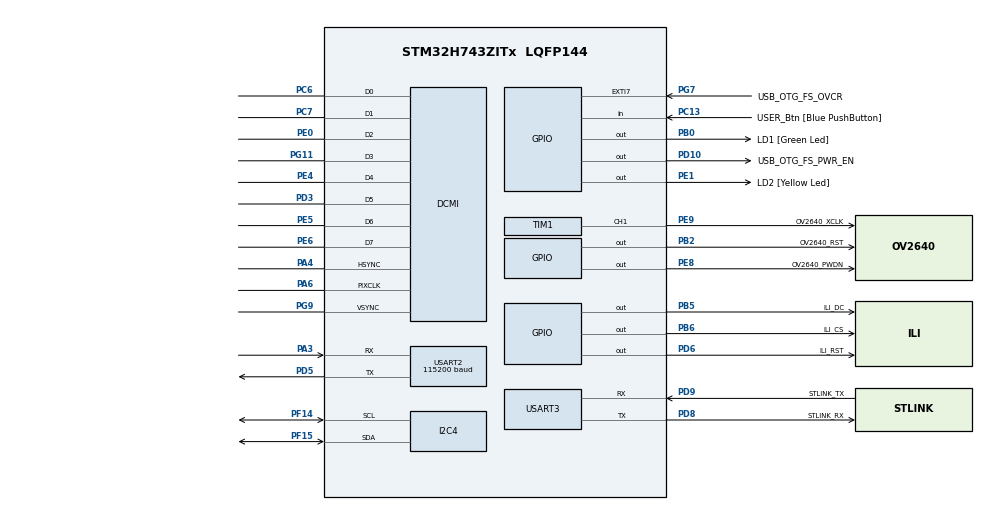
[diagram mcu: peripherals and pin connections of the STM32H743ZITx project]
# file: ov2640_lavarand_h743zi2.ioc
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CRC.DefaultPolynomialUse=DEFAULT_POLYNOMIAL_DISABLE
CRC.GeneratingPolynomial=X31+X23+X15+X7+X0
DCMI.HSPolarity=DCMI_HSPOLARITY_LOW
DCMI.JPEGMode=DCMI_JPEG_ENABLE
DCMI.PCKPolarity=DCMI_PCKPOLARITY_RISING
DCMI.VSPolarity=DCMI_VSPOLARITY_LOW
Dma.DCMI.0.Direction=DMA_PERIPH_TO_MEMORY
Dma.DCMI.0.EventEnable=DISABLE
Dma.DCMI.0.FIFOMode=DMA_FIFOMODE_ENABLE
Dma.DCMI.0.FIFOThreshold=DMA_FIFO_THRESHOLD_FULL
Dma.DCMI.0.Instance=DMA1_Stream0
Dma.DCMI.0.MemBurst=DMA_MBURST_SINGLE
Dma.DCMI.0.MemDataAlignment=DMA_MDATAALIGN_WORD
Dma.DCMI.0.MemInc=DMA_MINC_ENABLE
Dma.DCMI.0.Mode=DMA_CIRCULAR
Dma.DCMI.0.PeriphBurst=DMA_PBURST_SINGLE
Dma.DCMI.0.PeriphDataAlignment=DMA_PDATAALIGN_WORD
Dma.DCMI.0.PeriphInc=DMA_PINC_DISABLE
Dma.DCMI.0.Polarity=HAL_DMAMUX_REQ_GEN_RISING
Dma.DCMI.0.Priority=DMA_PRIORITY_VERY_HIGH
Dma.DCMI.0.RequestNumber=1
Dma.DCMI.0.SignalID=NONE
Dma.DCMI.0.SyncEnable=DISABLE
Dma.DCMI.0.SyncPolarity=HAL_DMAMUX_SYNC_NO_EVENT
Dma.DCMI.0.SyncRequestNumber=1
Dma.DCMI.0.SyncSignalID=NONE
Dma.Request0=DCMI
I2C4.Speed=25
I2C4.Timing=0xC0206FFF
Mcu.Family=STM32H7
Mcu.Name=STM32H743ZITx
Mcu.Package=LQFP144
NVIC.DCMI_IRQn=true\:0\:0\:true\:false\:true\:true\:true\:true
NVIC.DMA1_Stream0_IRQn=true\:0\:0\:true\:false\:true\:false\:true\:true
NVIC.PriorityGroup=NVIC_PRIORITYGROUP_4
NVIC.USART2_IRQn=true\:0\:0\:false\:false\:true\:true\:true\:true
NVIC.USART3_IRQn=true\:0\:0\:false\:false\:true\:true\:true\:true
PA1.Signal=ETH_REF_CLK
PA11.Signal=USB_OTG_FS_DM
PA12.Signal=USB_OTG_FS_DP
PA2.Signal=ETH_MDIO
PA3.Mode=Asynchronous
PA3.Signal=USART2_RX
PA4.GPIO_Speed=GPIO_SPEED_FREQ_HIGH
PA4.Mode=Slave_8_bits_External_Synchro
PA4.Signal=DCMI_HSYNC
PA6.GPIO_Speed=GPIO_SPEED_FREQ_HIGH
PA6.Mode=Slave_8_bits_External_Synchro
PA6.Signal=DCMI_PIXCLK
PA7.Signal=ETH_CRS_DV
PA8.Signal=USB_OTG_FS_SOF
PA9.Signal=USB_OTG_FS_VBUS
PB0.GPIO_Label=LD1 [Green Led]
PB0.Signal=GPIO_Output
PB13.Signal=ETH_TXD1
PB2.GPIO_Label=OV2640_RST
PB2.Signal=GPIO_Output
PB5.GPIO_Label=ILI_DC
PB5.Signal=GPIO_Output
PB6.GPIO_Label=ILI_CS
PB6.Signal=GPIO_Output
PB8.Signal=I2C1_SCL
PC1.Signal=ETH_MDC
PC13.GPIO_Label=USER_Btn [Blue PushButton]
PC13.Signal=GPIO_Input
PC14-OSC32_IN\ (OSC32_IN).Mode=LSE-External-Oscillator
PC14-OSC32_IN\ (OSC32_IN).Signal=RCC_OSC32_IN
PC15-OSC32_OUT\ (OSC32_OUT).Mode=LSE-External-Oscillator
PC15-OSC32_OUT\ (OSC32_OUT).Signal=RCC_OSC32_OUT
PC4.Signal=ETH_RXD0
PC5.Signal=ETH_RXD1
PC6.GPIO_Speed=GPIO_SPEED_FREQ_HIGH
PC6.Mode=Slave_8_bits_External_Synchro
PC6.Signal=DCMI_D0
PC7.GPIO_Speed=GPIO_SPEED_FREQ_HIGH
PC7.Mode=Slave_8_bits_External_Synchro
PC7.Signal=DCMI_D1
PD10.GPIO_Label=USB_OTG_FS_PWR_EN
PD10.Signal=GPIO_Output
PD3.GPIO_Speed=GPIO_SPEED_FREQ_HIGH
PD3.Mode=Slave_8_bits_External_Synchro
PD3.Signal=DCMI_D5
PD5.Mode=Asynchronous
PD5.Signal=USART2_TX
PD6.GPIO_Label=ILI_RST
PD6.Signal=GPIO_Output
PD8.GPIO_Label=STLINK_RX
PD8.Mode=Asynchronous
PD8.Signal=USART3_TX
PD9.GPIO_Label=STLINK_TX
PD9.Mode=Asynchronous
PD9.Signal=USART3_RX
PE0.GPIO_Speed=GPIO_SPEED_FREQ_HIGH
PE0.Mode=Slave_8_bits_External_Synchro
PE0.Signal=DCMI_D2
PE1.GPIO_Label=LD2 [Yellow Led]
PE1.Signal=GPIO_Output
PE4.GPIO_Speed=GPIO_SPEED_FREQ_HIGH
PE4.Mode=Slave_8_bits_External_Synchro
PE4.Signal=DCMI_D4
PE5.GPIO_Speed=GPIO_SPEED_FREQ_HIGH
PE5.Mode=Slave_8_bits_External_Synchro
PE5.Signal=DCMI_D6
PE6.GPIO_Speed=GPIO_SPEED_FREQ_HIGH
PE6.Mode=Slave_8_bits_External_Synchro
PE6.Signal=DCMI_D7
PE8.GPIO_Label=OV2640_PWDN
PE8.Signal=GPIO_Output
PE9.GPIO_Label=OV2640_XCLK
PE9.GPIO_Speed=GPIO_SPEED_FREQ_LOW
PE9.Signal=S_TIM1_CH1
PF14.Mode=I2C
PF14.Signal=I2C4_SCL
PF15.Mode=I2C
PF15.Signal=I2C4_SDA
PG11.GPIO_Speed=GPIO_SPEED_FREQ_HIGH
PG11.Mode=Slave_8_bits_External_Synchro
PG11.Signal=DCMI_D3
PG13.Signal=ETH_TXD0
PG7.GPIO_Label=USB_OTG_FS_OVCR
PG7.Signal=GPXTI7
PG9.GPIO_Speed=GPIO_SPEED_FREQ_HIGH
PG9.Mode=Slave_8_bits_External_Synchro
PG9.Signal=DCMI_VSYNC
PH0-OSC_IN\ (PH0).Mode=HSE-External-Clock-Source
PH0-OSC_IN\ (PH0).Signal=RCC_OSC_IN
PH1-OSC_OUT\ (PH1).Signal=RCC_OSC_OUT
ProjectManager.HeapSize=0x4000
ProjectManager.StackSize=0x6000
ProjectManager.TargetToolchain=STM32CubeIDE
RCC.ADCFreq_Value=16125000
RCC.APB1Freq_Value=120000000
RCC.APB2Freq_Value=120000000
RCC.APB3Freq_Value=120000000
RCC.APB4Freq_Value=120000000
RCC.CortexFreq_Value=480000000
RCC.D1PPRE=RCC_APB3_DIV2
RCC.D2PPRE1=RCC_APB1_DIV2
RCC.D2PPRE2=RCC_APB2_DIV2
RCC.D3PPRE=RCC_APB4_DIV2
RCC.DIVM1=1
RCC.DIVN1=120
RCC.DIVQ1=15
RCC.HCLKFreq_Value=240000000
RCC.HPRE=RCC_HCLK_DIV2
RCC.HSE_VALUE=8000000
RCC.PLL2FRACN=0
RCC.PLL3FRACN=0
RCC.PLLFRACN=0
RCC.PLLSourceVirtual=RCC_PLLSOURCE_HSE
RCC.PWR_Regulator_Voltage_Scale=PWR_REGULATOR_VOLTAGE_SCALE0
RCC.SYSCLKFreq_VALUE=480000000
RCC.SYSCLKSource=RCC_SYSCLKSOURCE_PLLCLK
RCC.USBFreq_Value=64000000
SH.S_TIM1_CH1.0=TIM1_CH1,PWM Generation1 CH1
TIM1.Channel-PWM\ Generation1\ CH1=TIM_CHANNEL_1
TIM1.OCFastMode_PWM-PWM\ Generation1\ CH1=TIM_OCFAST_ENABLE
TIM1.Period=12-1
TIM1.Pulse-PWM\ Generation1\ CH1=6
USART2.BaudRate=115200
USART2.FIFOMode=FIFOMODE_ENABLE
USART2.VirtualMode-Asynchronous=VM_ASYNC
USART3.VirtualMode-Asynchronous=VM_ASYNC
VP_CRC_VS_CRC.Mode=CRC_Activate
VP_MBEDTLS_VS_MBEDTLS.Mode=Enabled
VP_MEMORYMAP_VS_MEMORYMAP.Mode=CurAppReg
VP_TIM1_VS_ClockSourceINT.Mode=Internal
board=NUCLEO-H743ZI2

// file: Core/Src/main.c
/* USER CODE BEGIN Header */
/**
 ******************************************************************************
 * @file           : main.c
 * @brief          : Main program body
 ******************************************************************************
 * @attention
 *
 * Copyright (c) 2024 STMicroelectronics.
 * All rights reserved.
 *
 * This software is licensed under terms that can be found in the LICENSE file
 * in the root directory of this software component.
 * If no LICENSE file comes with this software, it is provided AS-IS.
 *
 ******************************************************************************
 */
/* USER CODE END Header */
#include "main.h"
#include "crc.h"
#include "dcmi.h"
#include "dma.h"
#include "i2c.h"
#include "mbedtls.h"
#include "memorymap.h"
#include "tim.h"
#include "usart.h"
#include "gpio.h"

/* USER CODE BEGIN Includes */
#include "mbedtls/sha256.h"
#include "ov2640_jpeg.h"
#include <stdio.h>
/* USER CODE END Includes */

/* USER CODE BEGIN PD */
#define UART_RANDOM_STREAM &huart2
#define USE_CRC32 0 // 1 -> CRC32, 0 -> SHA256
#define PRNG 0 // 1 -> do not use camera, 0 -> use camera
#define NUMBER_OF_BITS_TO_STREAM 1000000
/* USER CODE END PD */

/* USER CODE BEGIN PV */
unsigned char jpeg_picture_hash[32]; /* SHA-256 outputs 32 bytes */

uint32_t jpeg_picture_crc; /* CRC32 */

extern uint8_t pictureBuff[JPEG_BUFF_SIZE];

uint32_t jpeg_begin;
uint32_t jpeg_end;

extern uint8_t uart_message[256];
extern uint32_t uart_size;

uint16_t number_of_config_errors;

uint32_t current_bit = 0;

uint32_t deterministic_seed_modifier = 0;
/* USER CODE END PV */

void SystemClock_Config(void);

int main(void)
{

	/* MCU Configuration--------------------------------------------------------*/

	/* Reset of all peripherals, Initializes the Flash interface and the Systick. */
	HAL_Init();

	/* Configure the system clock */
	SystemClock_Config();

	/* Initialize all configured peripherals */
	MX_GPIO_Init();
	MX_DMA_Init();
	MX_USART3_UART_Init();
	MX_USART2_UART_Init();
	MX_DCMI_Init();
	MX_TIM1_Init();
	MX_I2C4_Init();
	MX_MBEDTLS_Init();
	MX_CRC_Init();
	/* USER CODE BEGIN 2 */

	HAL_TIM_PWM_Start(&htim1, TIM_CHANNEL_1); // OV2640 XCLK
	HAL_Delay(1);

	number_of_config_errors = OV2640_Init_JPEG();
	uart_size =
			sprintf((char*) uart_message,
					"Number of OV2640 memory write/read errors: %d.\r\nLet's continue and see what happens :)\r\n",
					number_of_config_errors);
	HAL_UART_Transmit(OV2640_DEBUG_UART, uart_message, uart_size, 10);
	HAL_Delay(4000);

	/* USER CODE END 2 */

	/* Infinite loop */
	/* USER CODE BEGIN WHILE */
	while (1)
	{
#if PRNG
		mbedtls_sha256(pictureBuff, 50000, jpeg_picture_hash, 0); // arbitrary 50k bits
		deterministic_seed_modifier++;
		HAL_Delay(1); // to help Live Expressions
		for (uint8_t i = 0; i < 4; i++)
		{
			pictureBuff[i] = deterministic_seed_modifier >> (8 * i);
		}
		HAL_UART_Transmit(OV2640_DEBUG_UART, (uint8_t*) "SHA-256: ",
				sizeof("SHA-256: "), 10);

		for (uint8_t i = 0; i < 32; i++)
		{
			uart_size = sprintf((char*) uart_message, "%02x",
					jpeg_picture_hash[i]);
			HAL_UART_Transmit(OV2640_DEBUG_UART, uart_message, uart_size, 10);
		}
		HAL_UART_Transmit(OV2640_DEBUG_UART, (uint8_t*) "\r\n", sizeof("\r\n"),
				10);

		for (uint8_t i = 0; i < 32; i++)
		{
			for (uint8_t j = 0; j < 8; j++)
			{

				if (current_bit < NUMBER_OF_BITS_TO_STREAM)
				{
					if (((jpeg_picture_hash[i] >> j) & 0x1) == 1)
					{
						uint8_t bit1 = '1';
						HAL_UART_Transmit(UART_RANDOM_STREAM, &bit1, 1, 10);
						current_bit++;
					}
					else
					{
						uint8_t bit0 = '0';
						HAL_UART_Transmit(UART_RANDOM_STREAM, &bit0, 1, 10);
						current_bit++;
					}
				}
				else
				{
					HAL_UART_Transmit(OV2640_DEBUG_UART,
							(uint8_t*) "All requested bits have been streamed.\r\n",
							sizeof("All requested bits have been streamed.\r\n"),
							10);
					HAL_Delay(2000);
				}
			}
		}
#else
		HAL_DCMI_Stop(&hdcmi);
		HAL_Delay(10);

		if (0 == OV2640_TakePicture(&jpeg_begin, &jpeg_end))
		{
#if USE_CRC32
			jpeg_picture_crc = HAL_CRC_Calculate(&hcrc,
					(uint32_t*) (pictureBuff + jpeg_begin),
					jpeg_end - jpeg_begin + 1);
			HAL_UART_Transmit(OV2640_DEBUG_UART, (uint8_t*) "CRC-32: ",
					sizeof("CRC-32: "), 10);
			uart_size = sprintf((char*) uart_message, "%08x", jpeg_picture_crc);
			HAL_UART_Transmit(OV2640_DEBUG_UART, uart_message, uart_size, 10);
			HAL_UART_Transmit(OV2640_DEBUG_UART, (uint8_t*) "\r\n",
					sizeof("\r\n"), 10);
			for (uint8_t j = 0; j < 32; j++)
			{

				if (current_bit < NUMBER_OF_BITS_TO_STREAM)
				{
					if (((jpeg_picture_crc >> j) & 0x1) == 1)
					{
						uint8_t bit1 = '1';
						HAL_UART_Transmit(UART_RANDOM_STREAM, &bit1, 1, 10);
						current_bit++;
					}
					else
					{
						uint8_t bit0 = '0';
						HAL_UART_Transmit(UART_RANDOM_STREAM, &bit0, 1, 10);
						current_bit++;
					}
				}
				else
				{
					HAL_UART_Transmit(OV2640_DEBUG_UART,
							(uint8_t*) "All requested bits have been streamed.\r\n",
							sizeof("All requested bits have been streamed.\r\n"),
							10);
					HAL_Delay(2000);
				}
			}
#else
			mbedtls_sha256(pictureBuff + jpeg_begin, jpeg_end - jpeg_begin + 1,
					jpeg_picture_hash, 0);
			HAL_UART_Transmit(OV2640_DEBUG_UART, (uint8_t*) "SHA-256: ",
					sizeof("SHA-256: "), 10);

			for (uint8_t i = 0; i < 32; i++)
			{
				uart_size = sprintf((char*) uart_message, "%02x",
						jpeg_picture_hash[i]);
				HAL_UART_Transmit(OV2640_DEBUG_UART, uart_message, uart_size,
						10);
			}
			HAL_UART_Transmit(OV2640_DEBUG_UART, (uint8_t*) "\r\n",
					sizeof("\r\n"), 10);

			for (uint8_t i = 0; i < 32; i++)
			{
				for (uint8_t j = 0; j < 8; j++)
				{

					if (current_bit < NUMBER_OF_BITS_TO_STREAM)
					{
						if (((jpeg_picture_hash[i] >> j) & 0x1) == 1)
						{
							uint8_t bit1 = '1';
							HAL_UART_Transmit(UART_RANDOM_STREAM, &bit1, 1, 10);
							current_bit++;
						}
						else
						{
							uint8_t bit0 = '0';
							HAL_UART_Transmit(UART_RANDOM_STREAM, &bit0, 1, 10);
							current_bit++;
						}
					}
					else
					{
						HAL_UART_Transmit(OV2640_DEBUG_UART,
								(uint8_t*) "All requested bits have been streamed.\r\n",
								sizeof("All requested bits have been streamed.\r\n"),
								10);
						HAL_Delay(2000);
					}
				}
			}
#endif // USE_CRC32
	}
#endif // PRNG
	/* USER CODE END WHILE */

}
}

void SystemClock_Config(void)
{
RCC_OscInitTypeDef RCC_OscInitStruct =
{ 0 };
RCC_ClkInitTypeDef RCC_ClkInitStruct =
{ 0 };

/** Supply configuration update enable
 */
HAL_PWREx_ConfigSupply(PWR_LDO_SUPPLY);

/** Configure the main internal regulator output voltage
 */
__HAL_PWR_VOLTAGESCALING_CONFIG(PWR_REGULATOR_VOLTAGE_SCALE1);

while (!__HAL_PWR_GET_FLAG(PWR_FLAG_VOSRDY))
{
}

__HAL_RCC_SYSCFG_CLK_ENABLE();
__HAL_PWR_VOLTAGESCALING_CONFIG(PWR_REGULATOR_VOLTAGE_SCALE0);

while (!__HAL_PWR_GET_FLAG(PWR_FLAG_VOSRDY))
{
}

/** Initializes the RCC Oscillators according to the specified parameters
 * in the RCC_OscInitTypeDef structure.
 */
RCC_OscInitStruct.OscillatorType = RCC_OSCILLATORTYPE_HSE;
RCC_OscInitStruct.HSEState = RCC_HSE_BYPASS;
RCC_OscInitStruct.PLL.PLLState = RCC_PLL_ON;
RCC_OscInitStruct.PLL.PLLSource = RCC_PLLSOURCE_HSE;
RCC_OscInitStruct.PLL.PLLM = 1;
RCC_OscInitStruct.PLL.PLLN = 120;
RCC_OscInitStruct.PLL.PLLP = 2;
RCC_OscInitStruct.PLL.PLLQ = 15;
RCC_OscInitStruct.PLL.PLLR = 2;
RCC_OscInitStruct.PLL.PLLRGE = RCC_PLL1VCIRANGE_3;
RCC_OscInitStruct.PLL.PLLVCOSEL = RCC_PLL1VCOWIDE;
RCC_OscInitStruct.PLL.PLLFRACN = 0;
if (HAL_RCC_OscConfig(&RCC_OscInitStruct) != HAL_OK)
{
	Error_Handler();
}

/** Initializes the CPU, AHB and APB buses clocks
 */
RCC_ClkInitStruct.ClockType = RCC_CLOCKTYPE_HCLK | RCC_CLOCKTYPE_SYSCLK
		| RCC_CLOCKTYPE_PCLK1 | RCC_CLOCKTYPE_PCLK2 | RCC_CLOCKTYPE_D3PCLK1
		| RCC_CLOCKTYPE_D1PCLK1;
RCC_ClkInitStruct.SYSCLKSource = RCC_SYSCLKSOURCE_PLLCLK;
RCC_ClkInitStruct.SYSCLKDivider = RCC_SYSCLK_DIV1;
RCC_ClkInitStruct.AHBCLKDivider = RCC_HCLK_DIV2;
RCC_ClkInitStruct.APB3CLKDivider = RCC_APB3_DIV2;
RCC_ClkInitStruct.APB1CLKDivider = RCC_APB1_DIV2;
RCC_ClkInitStruct.APB2CLKDivider = RCC_APB2_DIV2;
RCC_ClkInitStruct.APB4CLKDivider = RCC_APB4_DIV2;

if (HAL_RCC_ClockConfig(&RCC_ClkInitStruct, FLASH_LATENCY_4) != HAL_OK)
{
	Error_Handler();
}
}

void Error_Handler(void)
{
__disable_irq();
while (1)
{
}
}
